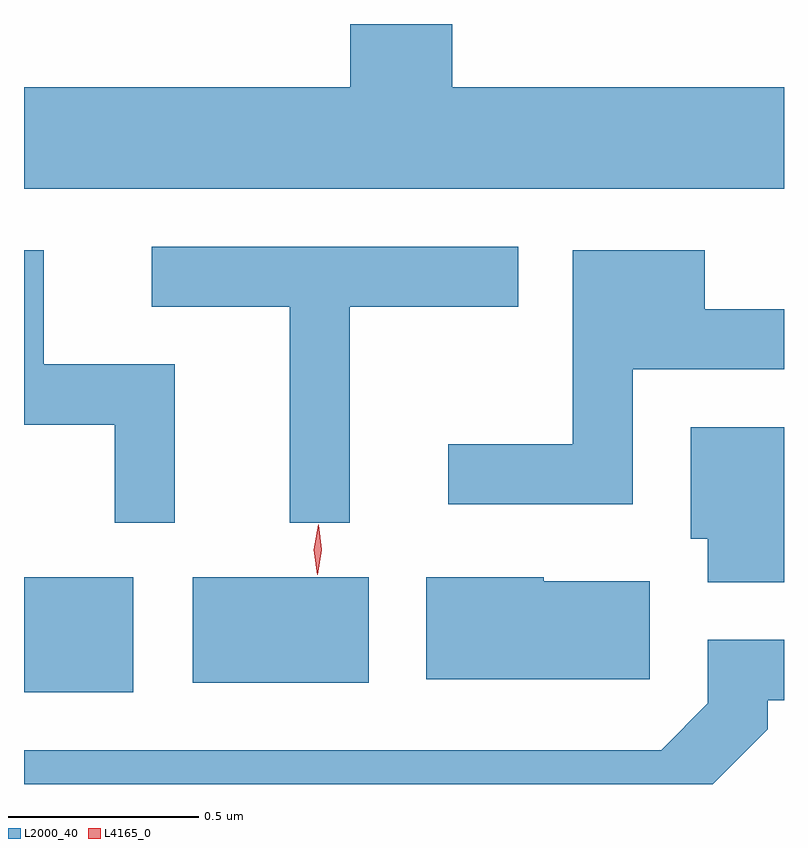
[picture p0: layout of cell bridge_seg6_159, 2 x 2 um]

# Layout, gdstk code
import gdstk
lib = gdstk.Library(unit=1e-6, precision=1e-09)
def R(c, l, rs):  # rectangles x0, y0, x1, y1
    for r in rs: c.add(gdstk.rectangle(r[:2], r[2:], *l))
def P(c, l, *ps):  # polygons
    for p in ps: c.add(gdstk.Polygon(p, *l))
L2000_40 = (2000, 40)
L4165_0 = (4165, 0)

bridge_seg6_159 = lib.new_cell('bridge_seg6_159')
R(bridge_seg6_159, L2000_40, [(1213.217,1582.011,1213.504,1582.314), (1213.661,1582.036,1214.124,1582.314)])
P(bridge_seg6_159, L2000_40, [(1215.217,1583.604),(1214.344,1583.604),(1214.344,1583.77),(1214.076,1583.77),(1214.076,1583.604),(1213.217,1583.604),(1213.217,1583.336),(1215.217,1583.336)],
  [(1214.074,1583.026),(1214.518,1583.026),(1214.518,1583.184),(1213.553,1583.184),(1213.553,1583.026),(1213.916,1583.026),(1213.916,1582.458),(1214.074,1582.458)],
  [(1214.819,1582.861),(1215.217,1582.861),(1215.217,1583.019),(1215.009,1583.019),(1215.009,1583.174),(1214.661,1583.174),(1214.661,1582.664),(1214.333,1582.664),(1214.333,1582.506),(1214.819,1582.506)],
  [(1213.614,1582.874),(1213.269,1582.874),(1213.269,1583.174),(1213.217,1583.174),(1213.217,1582.716),(1213.456,1582.716),(1213.456,1582.458),(1213.614,1582.458)],
  [(1215.217,1582.709),(1214.971,1582.709),(1214.971,1582.416),(1215.016,1582.416),(1215.016,1582.301),(1215.217,1582.301)],
  [(1214.864,1582.304),(1214.585,1582.304),(1214.585,1582.314),(1214.276,1582.314),(1214.276,1582.046),(1214.864,1582.046)],
  [(1215.174,1581.914),(1215.174,1581.991),(1215.217,1581.991),(1215.217,1582.149),(1215.016,1582.149),(1215.016,1581.982),(1214.894,1581.859),(1213.217,1581.859),(1213.217,1581.77),(1215.03,1581.77)])
P(bridge_seg6_159, L4165_0, [(1213.989,1582.321),(1213.989,1582.321),(1213.98,1582.387),(1213.991,1582.452),(1213.992,1582.452),(1213.992,1582.452),(1214,1582.386),(1213.99,1582.321)])

lib.write_gds('bridge_seg6_159.gds')
